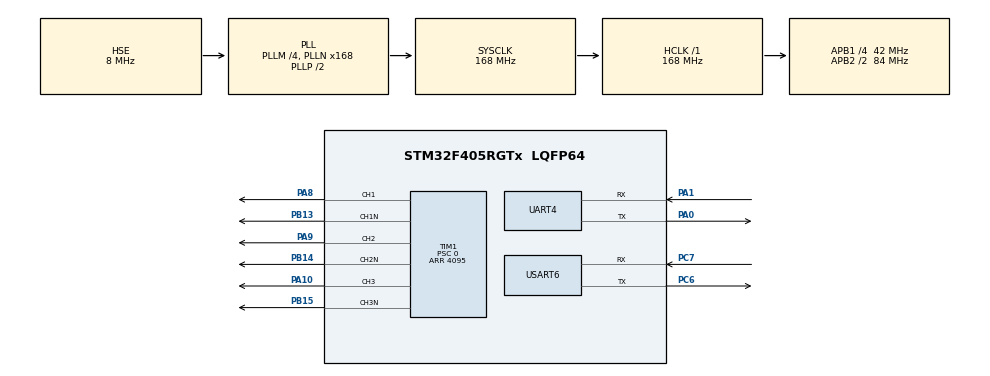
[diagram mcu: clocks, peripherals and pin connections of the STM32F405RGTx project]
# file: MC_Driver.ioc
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FREERTOS.Tasks01=defaultTask,24,128,StartDefaultTask,Default,NULL,Dynamic,NULL,NULL
Mcu.Family=STM32F4
Mcu.Name=STM32F405RGTx
Mcu.Package=LQFP64
NVIC.PriorityGroup=NVIC_PRIORITYGROUP_4
NVIC.UART4_IRQn=true\:5\:0\:false\:false\:true\:true\:true\:true
NVIC.USART6_IRQn=true\:5\:0\:false\:false\:true\:true\:true\:true
PA0-WKUP.Mode=Asynchronous
PA0-WKUP.Signal=UART4_TX
PA1.Mode=Asynchronous
PA1.Signal=UART4_RX
PA10.GPIO_PuPd=GPIO_PULLUP
PA10.GPIO_Speed=GPIO_SPEED_FREQ_VERY_HIGH
PA10.Signal=S_TIM1_CH3
PA13.Mode=Serial_Wire
PA13.Signal=SYS_JTMS-SWDIO
PA14.Mode=Serial_Wire
PA14.Signal=SYS_JTCK-SWCLK
PA8.GPIO_PuPd=GPIO_PULLUP
PA8.GPIO_Speed=GPIO_SPEED_FREQ_VERY_HIGH
PA8.Signal=S_TIM1_CH1
PA9.GPIO_PuPd=GPIO_PULLUP
PA9.GPIO_Speed=GPIO_SPEED_FREQ_VERY_HIGH
PA9.Signal=S_TIM1_CH2
PB13.GPIO_PuPd=GPIO_PULLUP
PB13.GPIO_Speed=GPIO_SPEED_FREQ_VERY_HIGH
PB13.Mode=PWM Generation1 CH1 CH1N
PB13.Signal=TIM1_CH1N
PB14.GPIO_PuPd=GPIO_PULLUP
PB14.GPIO_Speed=GPIO_SPEED_FREQ_VERY_HIGH
PB14.Mode=PWM Generation2 CH2 CH2N
PB14.Signal=TIM1_CH2N
PB15.GPIO_PuPd=GPIO_PULLUP
PB15.GPIO_Speed=GPIO_SPEED_FREQ_VERY_HIGH
PB15.Mode=PWM Generation3 CH3 CH3N
PB15.Signal=TIM1_CH3N
PC6.Mode=Asynchronous
PC6.Signal=USART6_TX
PC7.Mode=Asynchronous
PC7.Signal=USART6_RX
PH0-OSC_IN.Mode=HSE-External-Oscillator
PH0-OSC_IN.Signal=RCC_OSC_IN
PH1-OSC_OUT.Mode=HSE-External-Oscillator
PH1-OSC_OUT.Signal=RCC_OSC_OUT
ProjectManager.HeapSize=0x200
ProjectManager.StackSize=0x400
ProjectManager.TargetToolchain=STM32CubeIDE
RCC.48MHZClocksFreq_Value=84000000
RCC.AHBFreq_Value=168000000
RCC.APB1CLKDivider=RCC_HCLK_DIV4
RCC.APB1Freq_Value=42000000
RCC.APB1TimFreq_Value=84000000
RCC.APB2CLKDivider=RCC_HCLK_DIV2
RCC.APB2Freq_Value=84000000
RCC.APB2TimFreq_Value=168000000
RCC.CortexFreq_Value=168000000
RCC.HCLKFreq_Value=168000000
RCC.HSE_VALUE=8000000
RCC.HSI_VALUE=16000000
RCC.LSE_VALUE=32768
RCC.PLLM=4
RCC.PLLN=168
RCC.PLLSourceVirtual=RCC_PLLSOURCE_HSE
RCC.SYSCLKFreq_VALUE=168000000
RCC.SYSCLKSource=RCC_SYSCLKSOURCE_PLLCLK
RCC.VCOOutputFreq_Value=336000000
SH.S_TIM1_CH1.0=TIM1_CH1,PWM Generation1 CH1 CH1N
SH.S_TIM1_CH2.0=TIM1_CH2,PWM Generation2 CH2 CH2N
SH.S_TIM1_CH3.0=TIM1_CH3,PWM Generation3 CH3 CH3N
TIM1.Channel-PWM\ Generation1\ CH1\ CH1N=TIM_CHANNEL_1
TIM1.Channel-PWM\ Generation2\ CH2\ CH2N=TIM_CHANNEL_2
TIM1.Channel-PWM\ Generation3\ CH3\ CH3N=TIM_CHANNEL_3
TIM1.CounterMode=TIM_COUNTERMODE_CENTERALIGNED1
TIM1.DeadTime=42
TIM1.Period=4095
TIM1.Prescaler=0
UART4.VirtualMode=Asynchronous
USART6.VirtualMode=VM_ASYNC
VP_FREERTOS_VS_CMSIS_V2.Mode=CMSIS_V2
board=custom

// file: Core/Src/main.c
/* USER CODE BEGIN Header */
/**
  ******************************************************************************
  * @file           : main.c
  * @brief          : Main program body
  ******************************************************************************
  * @attention
  *
  * <h2><center>&copy; Copyright (c) 2021 STMicroelectronics.
  * All rights reserved.</center></h2>
  *
  * This software component is licensed by ST under BSD 3-Clause license,
  * the "License"; You may not use this file except in compliance with the
  * License. You may obtain a copy of the License at:
  *                        opensource.org/licenses/BSD-3-Clause
  *
  ******************************************************************************
  */
/* USER CODE END Header */
#include "main.h"
#include "cmsis_os.h"
#include "tim.h"
#include "usart.h"
#include "gpio.h"

void SystemClock_Config(void);
void MX_FREERTOS_Init(void);

/* USER CODE BEGIN 0 */
int _write(int file, char *ptr, int len)
{
//	 if(HAL_UART_Transmit(&huart7, ptr, len, 0xffff) != HAL_OK)
//	 {
//		 Error_Handler();
//	 }
}
/* USER CODE END 0 */

int main(void)
{

  /* MCU Configuration--------------------------------------------------------*/

  /* Reset of all peripherals, Initializes the Flash interface and the Systick. */
  HAL_Init();

  /* Configure the system clock */
  SystemClock_Config();

  /* Initialize all configured peripherals */
  MX_GPIO_Init();
  MX_TIM1_Init();
  MX_USART6_UART_Init();
  MX_UART4_Init();
  /* USER CODE BEGIN 2 */
  HAL_TIMEx_PWMN_Start(&htim1, TIM_CHANNEL_1);
  HAL_TIM_PWM_Start(&htim1, TIM_CHANNEL_1);
  HAL_TIMEx_PWMN_Start(&htim1, TIM_CHANNEL_2);
  HAL_TIM_PWM_Start(&htim1, TIM_CHANNEL_2);
  HAL_TIMEx_PWMN_Start(&htim1, TIM_CHANNEL_3);
  HAL_TIM_PWM_Start(&htim1, TIM_CHANNEL_3);
  /* USER CODE END 2 */

  /* Init scheduler */
  osKernelInitialize();  /* Call init function for freertos objects (in freertos.c) */
  MX_FREERTOS_Init();
  /* Start scheduler */
  osKernelStart();

  /* We should never get here as control is now taken by the scheduler */
  /* Infinite loop */
  /* USER CODE BEGIN WHILE */
	//setupSimpleFOC();
	HAL_Delay(1000);

  while (1)
  {
    /* USER CODE END WHILE */

  }
}

void SystemClock_Config(void)
{
  RCC_OscInitTypeDef RCC_OscInitStruct = {0};
  RCC_ClkInitTypeDef RCC_ClkInitStruct = {0};

  /** Configure the main internal regulator output voltage
  */
  __HAL_RCC_PWR_CLK_ENABLE();
  __HAL_PWR_VOLTAGESCALING_CONFIG(PWR_REGULATOR_VOLTAGE_SCALE1);
  /** Initializes the RCC Oscillators according to the specified parameters
  * in the RCC_OscInitTypeDef structure.
  */
  RCC_OscInitStruct.OscillatorType = RCC_OSCILLATORTYPE_HSE;
  RCC_OscInitStruct.HSEState = RCC_HSE_ON;
  RCC_OscInitStruct.PLL.PLLState = RCC_PLL_ON;
  RCC_OscInitStruct.PLL.PLLSource = RCC_PLLSOURCE_HSE;
  RCC_OscInitStruct.PLL.PLLM = 4;
  RCC_OscInitStruct.PLL.PLLN = 168;
  RCC_OscInitStruct.PLL.PLLP = RCC_PLLP_DIV2;
  RCC_OscInitStruct.PLL.PLLQ = 4;
  if (HAL_RCC_OscConfig(&RCC_OscInitStruct) != HAL_OK)
  {
    Error_Handler();
  }
  /** Initializes the CPU, AHB and APB buses clocks
  */
  RCC_ClkInitStruct.ClockType = RCC_CLOCKTYPE_HCLK|RCC_CLOCKTYPE_SYSCLK
                              |RCC_CLOCKTYPE_PCLK1|RCC_CLOCKTYPE_PCLK2;
  RCC_ClkInitStruct.SYSCLKSource = RCC_SYSCLKSOURCE_PLLCLK;
  RCC_ClkInitStruct.AHBCLKDivider = RCC_SYSCLK_DIV1;
  RCC_ClkInitStruct.APB1CLKDivider = RCC_HCLK_DIV4;
  RCC_ClkInitStruct.APB2CLKDivider = RCC_HCLK_DIV2;

  if (HAL_RCC_ClockConfig(&RCC_ClkInitStruct, FLASH_LATENCY_5) != HAL_OK)
  {
    Error_Handler();
  }
}

/* USER CODE BEGIN 4 */
uint32_t getSysTime(){
	return (1000*HAL_GetTick() - SysTick->VAL/168);
}
/* USER CODE END 4 */

void Error_Handler(void)
{
  __disable_irq();
  while (1)
  {
  }
}

/************************ (C) COPYRIGHT STMicroelectronics *****END OF FILE****/

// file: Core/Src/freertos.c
/* USER CODE BEGIN Header */
/**
  ******************************************************************************
  * File Name          : freertos.c
  * Description        : Code for freertos applications
  ******************************************************************************
  * @attention
  *
  * <h2><center>&copy; Copyright (c) 2021 STMicroelectronics.
  * All rights reserved.</center></h2>
  *
  * This software component is licensed by ST under Ultimate Liberty license
  * SLA0044, the "License"; You may not use this file except in compliance with
  * the License. You may obtain a copy of the License at:
  *                             www.st.com/SLA0044
  *
  ******************************************************************************
  */
/* USER CODE END Header */

#include "FreeRTOS.h"
#include "task.h"
#include "main.h"
#include "cmsis_os.h"

/* USER CODE BEGIN Includes */
#include "tim.h"
/* USER CODE END Includes */

/* USER CODE BEGIN PTD */
extern UART_HandleTypeDef huart6;
extern UART_HandleTypeDef huart4;
/* USER CODE END PTD */

/* USER CODE BEGIN PD */
int open_or_close = 0;
/* USER CODE END PD */

/* Definitions for defaultTask */
osThreadId_t defaultTaskHandle;
const osThreadAttr_t defaultTask_attributes = {
  .name = "defaultTask",
  .stack_size = 128 * 4,
  .priority = (osPriority_t) osPriorityNormal,
};

void StartDefaultTask(void *argument);

void MX_FREERTOS_Init(void); /* (MISRA C 2004 rule 8.1) */

void MX_FREERTOS_Init(void) {

  /* Create the thread(s) */
  /* creation of defaultTask */
  defaultTaskHandle = osThreadNew(StartDefaultTask, NULL, &defaultTask_attributes);

}

void StartDefaultTask(void *argument)
{
  /* USER CODE BEGIN StartDefaultTask */
  /* Infinite loop */
	setupSimpleFOC();
	osDelay(1000);
  for(;;)
  {
		osDelay(1);
		if(open_or_close){
			open_or_close--;
			if(open_or_close ==0 )disableSimpleFOC(-1);
			loopSimpleFOC();
		}
  }
  /* USER CODE END StartDefaultTask */
}

/************************ (C) COPYRIGHT STMicroelectronics *****END OF FILE****/
